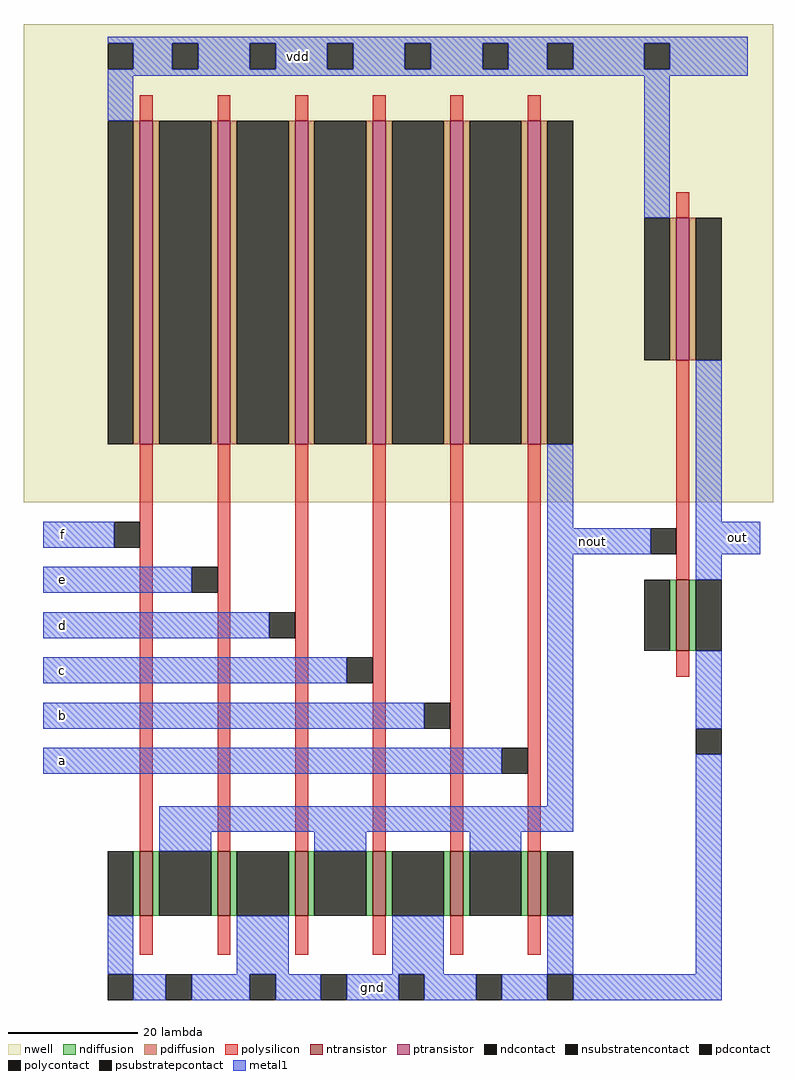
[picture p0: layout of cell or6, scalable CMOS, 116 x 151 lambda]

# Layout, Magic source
magic
tech scmos
<< nwell >>
rect -13 55 103 129
<< ntransistor >>
rect 88 32 90 43
rect 5 -9 7 1
rect 17 -9 19 1
rect 29 -9 31 1
rect 41 -9 43 1
rect 53 -9 55 1
rect 65 -9 67 1
<< ptransistor >>
rect 5 64 7 114
rect 17 64 19 114
rect 29 64 31 114
rect 41 64 43 114
rect 53 64 55 114
rect 65 64 67 114
rect 88 77 90 99
<< ndiffusion >>
rect 87 32 88 43
rect 90 32 91 43
rect 4 -9 5 1
rect 7 -9 8 1
rect 16 -9 17 1
rect 19 -9 20 1
rect 28 -9 29 1
rect 31 -9 32 1
rect 40 -9 41 1
rect 43 -9 44 1
rect 52 -9 53 1
rect 55 -9 56 1
rect 64 -9 65 1
rect 67 -9 68 1
<< pdiffusion >>
rect 4 64 5 114
rect 7 64 8 114
rect 16 64 17 114
rect 19 64 20 114
rect 28 64 29 114
rect 31 64 32 114
rect 40 64 41 114
rect 43 64 44 114
rect 52 64 53 114
rect 55 64 56 114
rect 64 64 65 114
rect 67 64 68 114
rect 87 77 88 99
rect 90 77 91 99
<< ndcontact >>
rect 83 32 87 43
rect 91 32 95 43
rect 0 -9 4 1
rect 8 -9 16 1
rect 20 -9 28 1
rect 32 -9 40 1
rect 44 -9 52 1
rect 56 -9 64 1
rect 68 -9 72 1
<< pdcontact >>
rect 0 64 4 114
rect 8 64 16 114
rect 20 64 28 114
rect 32 64 40 114
rect 44 64 52 114
rect 56 64 64 114
rect 68 64 72 114
rect 83 77 87 99
rect 91 77 95 99
<< psubstratepcontact >>
rect 91 16 95 20
rect 0 -22 4 -18
rect 9 -22 13 -18
rect 22 -22 26 -18
rect 33 -22 37 -18
rect 45 -22 49 -18
rect 57 -22 61 -18
rect 68 -22 72 -18
<< nsubstratencontact >>
rect 0 122 4 126
rect 10 122 14 126
rect 22 122 26 126
rect 34 122 38 126
rect 46 122 50 126
rect 58 122 62 126
rect 68 122 72 126
rect 83 122 87 126
<< polysilicon >>
rect 5 114 7 118
rect 17 114 19 118
rect 29 114 31 118
rect 41 114 43 118
rect 53 114 55 118
rect 65 114 67 118
rect 88 99 90 103
rect 5 1 7 64
rect 17 1 19 64
rect 29 1 31 64
rect 41 1 43 64
rect 53 1 55 64
rect 65 1 67 64
rect 88 43 90 77
rect 88 28 90 32
rect 5 -15 7 -9
rect 17 -15 19 -9
rect 29 -15 31 -9
rect 41 -15 43 -9
rect 53 -15 55 -9
rect 65 -15 67 -9
<< polycontact >>
rect 1 48 5 52
rect 13 41 17 45
rect 25 34 29 38
rect 37 27 41 31
rect 49 20 53 24
rect 61 13 65 17
rect 84 47 88 51
<< metal1 >>
rect 0 126 99 127
rect 4 122 10 126
rect 14 122 22 126
rect 26 122 34 126
rect 38 122 46 126
rect 50 122 58 126
rect 62 122 68 126
rect 72 122 83 126
rect 87 122 99 126
rect 0 121 99 122
rect 0 114 4 121
rect 83 99 87 121
rect -10 48 1 52
rect 68 51 72 64
rect 91 52 95 77
rect 68 47 84 51
rect 91 47 101 52
rect -10 41 13 45
rect -10 34 25 38
rect -10 27 37 31
rect -10 20 49 24
rect -10 13 61 17
rect 68 8 72 47
rect 91 43 95 47
rect 8 4 72 8
rect 91 20 95 32
rect 8 1 16 4
rect 32 1 40 4
rect 56 1 64 4
rect 0 -18 4 -9
rect 20 -18 28 -9
rect 44 -18 52 -9
rect 68 -18 72 -9
rect 91 -18 95 16
rect 4 -22 9 -18
rect 13 -22 22 -18
rect 26 -22 33 -18
rect 37 -22 45 -18
rect 49 -22 57 -18
rect 61 -22 68 -18
rect 72 -22 95 -18
<< labels >>
rlabel metal1 -9 48 -5 52 1 f
rlabel metal1 -9 41 -5 45 1 e
rlabel metal1 -9 34 -5 38 1 d
rlabel metal1 -9 27 -5 31 1 c
rlabel metal1 -9 20 -5 24 1 b
rlabel metal1 -9 13 -5 17 1 a
rlabel metal1 27 121 32 127 5 vdd
rlabel metal1 72 47 78 51 1 nout
rlabel metal1 38 -22 44 -18 1 gnd
rlabel metal1 94 47 101 52 1 out
<< end >>
